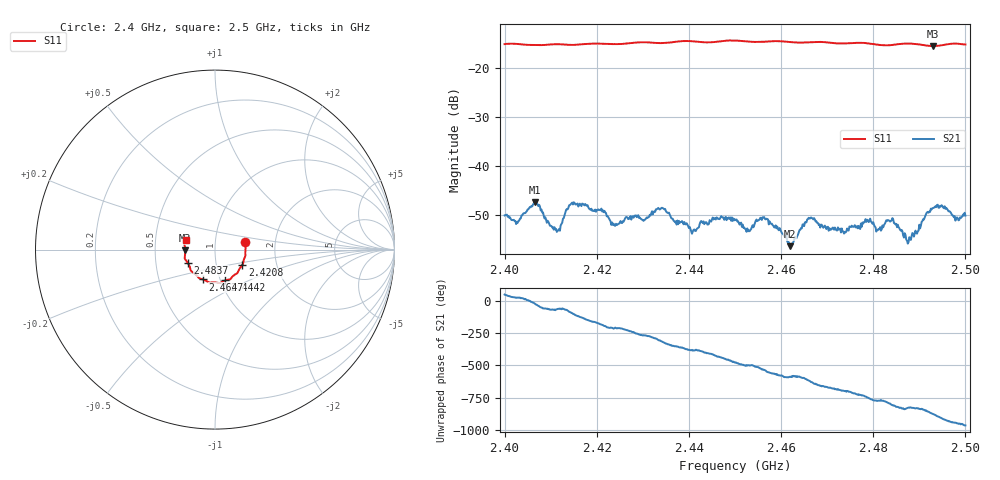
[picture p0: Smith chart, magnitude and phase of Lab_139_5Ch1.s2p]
# Hz S RI R 50
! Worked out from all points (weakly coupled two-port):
!   601 points, 2.4 GHz to 2.5 GHz, reference 50 ohm
!   highest |S21| = -47.26 dB at 2.4065 GHz (marker M1); lowest = -56.3 dB at 2.462 GHz (marker M2)
!   lowest |S11| = -15.6 dB at 2.493 GHz (marker M3), VSWR 1.40, Z = 35.8 - j0.222 ohm
!   |S11| at or under -10 dB: start of sweep to end of sweep
!   S12 and S22 are empty: the file has one direction only
!   S11 on the Smith chart (normalised r, x): 2.4 GHz: 1.40, +0.12; 2.4208 GHz: 1.33, -0.24; 2.4442 GHz: 1.05, -0.37; 2.4647 GHz: 0.83, -0.29; 2.4837 GHz: 0.73, -0.11; 2.5 GHz: 0.72, +0.08
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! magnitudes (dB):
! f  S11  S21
! 2.4 GHz  -15.2  -50.0
! 2.4027 GHz  -15.2  -51.4
! 2.4065 GHz  -15.4  -47.3
! 2.4115 GHz  -15.2  -53.1
! 2.4142 GHz  -15.4  -47.9
! 2.4167 GHz  -15.3  -48.1
! 2.4208 GHz  -15.1  -49.0
! 2.424 GHz  -15.2  -52.1
! 2.4333 GHz  -15.0  -48.5
! 2.441 GHz  -14.7  -53.0
! 2.4442 GHz  -14.9  -51.9
! 2.45 GHz  -14.5  -50.8
! 2.4567 GHz  -14.7  -50.8
! 2.462 GHz  -14.8  -56.3
! 2.4647 GHz  -14.9  -51.8
! 2.4667 GHz  -14.8  -50.6
! 2.4735 GHz  -15.1  -53.3
! 2.4833 GHz  -15.5  -51.0
! 2.4837 GHz  -15.4  -51.3
! 2.4877 GHz  -15.1  -55.4
! 2.493 GHz  -15.6  -48.5
! 2.5 GHz  -15.3  -50.0
